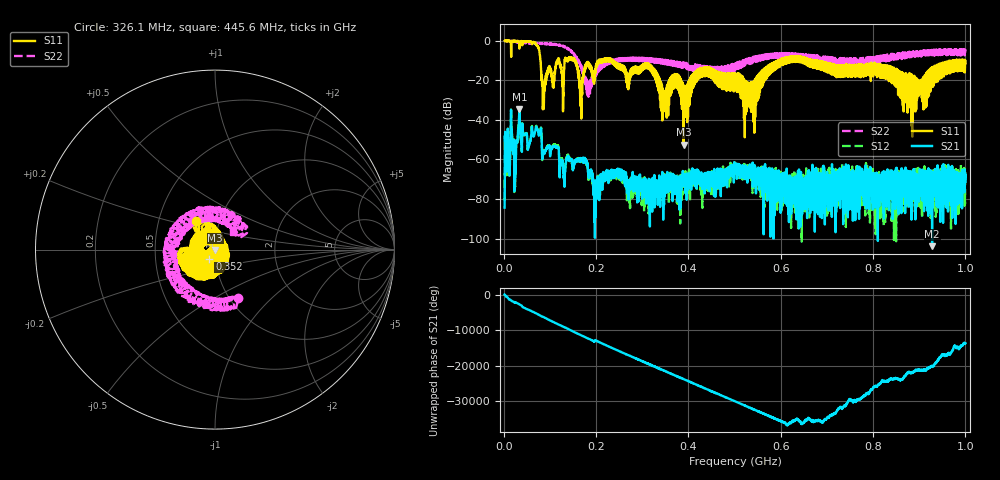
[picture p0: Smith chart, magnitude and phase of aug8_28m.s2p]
!Keysight Technologies N9923A: A.12.45
!Date: Friday, 08 August 2025 17:50:07
!Timezone: (UTC+08:00) Kuala Lumpur, Singapore
!Model: N9923A
!Serial: MY61181427
!GPS Latitude:
!GPS Longitude:
!GPS TimeStamp: 0001-01-01 00:00:00Z
!GPS Seconds Since Last Read: 0
!CHECKSUM:1462247694
!Correction: S11(ON U)S21(ON U)S12(ON U)S22(ON U)
!S2P File: Measurements:S11,S21,S12,S22:
# Hz S DB R 50
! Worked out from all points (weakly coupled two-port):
!   4001 points, 2 MHz to 1 GHz, reference 50 ohm
!   highest |S21| = -34.60 dB at 33.94 MHz (marker M1); lowest = -103.8 dB at 927.9 MHz (marker M2)
!   lowest |S11| = -52.5 dB at 389.5 MHz (marker M3), VSWR 1.00, Z = 50.1 - j0.219 ohm
!   |S11| at or under -10 dB: 155.2 MHz to 205.9 MHz (50.68 MHz wide, 28.1 % of centre); 236.1 MHz to 594.5 MHz (358.5 MHz wide, 86.3 % of centre); 675.7 MHz to 974.2 MHz (298.5 MHz wide, 36.2 % of centre) (the widest 3 of 94)
!   |S22| runs from -28.3 to 0.1 dB; largest |S21 - S12| = 0.001
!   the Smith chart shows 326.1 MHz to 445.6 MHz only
!   S11 on the Smith chart (normalised r, x): 326.1 MHz: 0.77, +0.25; 352 MHz: 0.93, -0.10; 445.6 MHz: 0.73, -0.11
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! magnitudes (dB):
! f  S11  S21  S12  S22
! 2 MHz  -0.1  -84.3  -80.8  0.0
! 7.489 MHz  -0.1  -56.6  -56.9  -0.3
! 33.94 MHz  -4.0  -34.6  -34.6  -0.8
! 72.11 MHz  -2.3  -44.5  -44.2  -1.3
! 86.83 MHz  -34.5  -56.0  -55.2  -1.7
! 145.2 MHz  -8.4  -60.1  -60.5  -5.5
! 168.4 MHz  -35.8  -60.3  -60.5  -13.8
! 183.6 MHz  -11.4  -65.6  -66.6  -28.3
! 199.4 MHz  -13.5  -74.4  -72.7  -14.7
! 246.8 MHz  -13.7  -66.7  -67.8  -9.7
! 326.1 MHz  -14.3  -73.3  -74.9  -10.5
! 334.8 MHz  -19.1  -77.0  -74.9  -11.3
! 352 MHz  -24.2  -72.6  -70.7  -10.8
! 389.5 MHz  -52.5  -69.1  -70.0  -11.1
! 445.6 MHz  -15.5  -71.6  -70.7  -16.9
! 501 MHz  -16.5  -65.0  -64.7  -15.2
! 538.2 MHz  -23.7  -69.4  -63.8  -11.4
! 599.6 MHz  -9.4  -72.0  -72.6  -6.4
! 667.4 MHz  -10.2  -82.3  -72.0  -8.3
! 833.8 MHz  -18.7  -73.1  -85.7  -8.1
! 927.9 MHz  -21.0  -103.8  -67.8  -7.4
! 1 GHz  -11.5  -67.9  -66.5  -6.1
